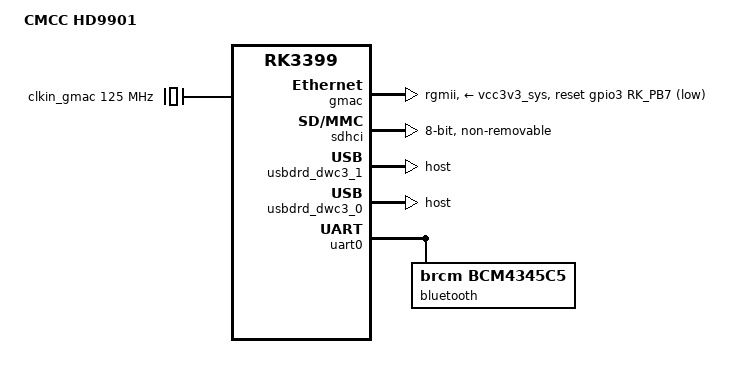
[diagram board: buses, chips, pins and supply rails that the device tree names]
// SPDX-License-Identifier: (GPL-2.0+ OR MIT)
/*
 * CMCC HD9901 (HD9901-HD-MB-v2.6) RK3399 board.
 *
 * The vendor Debian image describes this board as a rock960 variant. Relative
 * to rk3399-rock960.dtsi the board has no 96boards LEDs/PCIe/SPI expansion and
 * no DDR3-supported DFI, but adds a RTL8211E gmac, both USB controllers in host
 * mode, the eMMC PHY strobe pull-down and the AP6255 WiFi/BT model strings.
 * Console is UART2 at 1500000n8.  WiFi SDIO is capped at 50 MHz: the 6.18
 * dw_mmc path corrupts the dongle firmware download at 148.5 MHz.
 */

/dts-v1/;

#include "rk3399-rock960.dtsi"

/ {
	model = "CMCC HD9901";
	compatible = "rockchip,rk3399-hd9901", "rockchip,rk3399";

	chosen {
		stdout-path = "serial2:1500000n8";
	};

	clkin_gmac: external-gmac-clock {
		compatible = "fixed-clock";
		clock-frequency = <125000000>;
		clock-output-names = "clkin_gmac";
		#clock-cells = <0>;
	};
};

&cpu_alert0 {
	temperature = <65000>;
};

&cpu_thermal {
	sustainable-power = <1550>;

	cooling-maps {
		map0 {
			trip = <&cpu_alert1>;
		};
	};
};

/* no 96boards PCIe expansion connector on this board */
&pcie0 {
	status = "disabled";
};

/* DDR3-800: rockchip-dfi only handles LPDDR2/3/4/4X/5 */
&dfi {
	status = "disabled";
};

&pinctrl {
	pcie {
		pcie_drv: pcie-drv {
			rockchip,pins =
				<2 RK_PA5 RK_FUNC_GPIO &pcfg_pull_none>;
		};
	};

	usb2 {
		/* same pin as &vcc5v0_host below */
		host_vbus_drv: host-vbus-drv {
			rockchip,pins =
				<1 RK_PA3 RK_FUNC_GPIO &pcfg_pull_none>;
		};
	};
};

/* no 96boards LS-SPI0 / HS-SPI1 expansion headers on this board */
&spi0 {
	status = "disabled";
};

&spi4 {
	status = "disabled";
};

/* RTL8211E RGMII: 125 MHz from the on-board oscillator is the MAC input */
&gmac {
	assigned-clocks = <&cru SCLK_RMII_SRC>;
	assigned-clock-parents = <&clkin_gmac>;
	clock_in_out = "input";
	phy-mode = "rgmii";
	phy-supply = <&vcc3v3_sys>;
	pinctrl-names = "default";
	pinctrl-0 = <&rgmii_pins>;
	snps,reset-gpio = <&gpio3 RK_PB7 GPIO_ACTIVE_LOW>;
	snps,reset-active-low;
	snps,reset-delays-us = <0 10000 50000>;
	tx_delay = <0x28>;
	rx_delay = <0x11>;
	status = "okay";
};

/* HS400 enhanced strobe at the default 200 MHz: 257 MB/s, no CRC errors */
&sdhci {
	bus-width = <8>;
	non-removable;
	mmc-hs400-1_8v;
	mmc-hs400-enhanced-strobe;
	status = "okay";
};

/* the board has no strobe pull-down resistor; without the PHY pull-down the
 * eMMC CQE queue stalls under write load (write ~1 MB/s, repeated CQE recovery)
 */
&emmc_phy {
	rockchip,enable-strobe-pulldown;
};

/* USB3.0 type-A port */
&usbdrd_dwc3_1 {
	dr_mode = "host";
};

/* type-C port: the board has no role-switch path, so host only as well */
&usbdrd_dwc3_0 {
	dr_mode = "host";
};

&vcc3v3_pcie {
	gpio = <&gpio2 5 GPIO_ACTIVE_HIGH>;
};

&vcc5v0_host {
	gpio = <&gpio1 RK_PA3 GPIO_ACTIVE_HIGH>;
};

/* AP6255 WiFi, BCM43455 on SDIO */
&brcmf {
	compatible = "brcm,bcm43455-fmac";
};

/* 6.18 reads random data back from the dongle firmware at 148.5 MHz SDR104
 * (-84 EILSEQ from dw_mmc); 6.12 works at that clock.  50 MHz is reliable.
 */
&sdio0 {
	max-frequency = <50000000>;
};

/* inherited from rk3399-rock960.dtsi but empty on this board; 6.18 logs
 * "unexpected irq in STOP" for it
 */
&i2c3 {
	status = "disabled";
};

/* AP6255 Bluetooth, BCM4345C5 on UART0 */
&uart0 {
	bluetooth {
		compatible = "brcm,bcm4345c5";
	};
};
